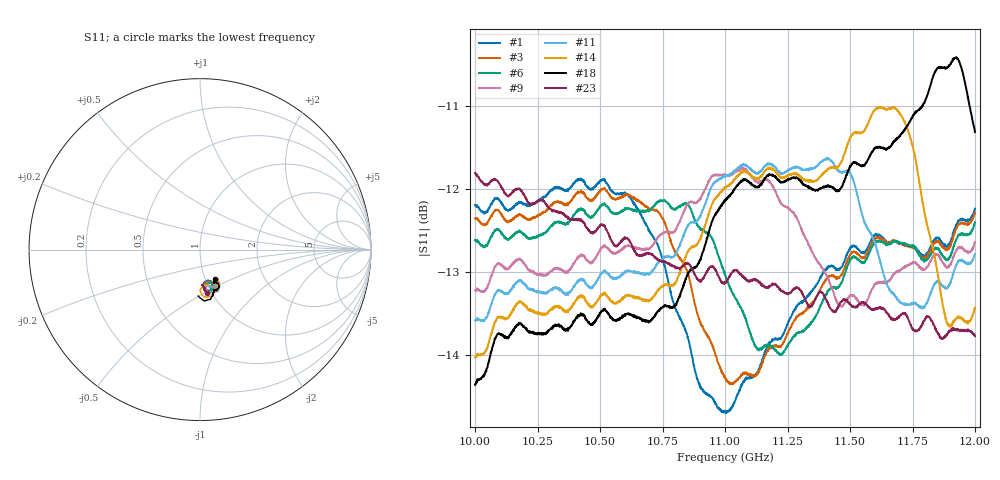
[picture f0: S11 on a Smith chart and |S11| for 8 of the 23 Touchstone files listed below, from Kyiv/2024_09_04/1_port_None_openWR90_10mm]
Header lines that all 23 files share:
[Version] 2.0
! Rohde & Schwarz Vector Network Analyzer
! Rohde-Schwarz,ZNL20-2Port,1323001220200009,1.71.1.10-23.02.1.238
! Port Assignments:
! Nominal Port -> Actual Test Port
!  1 -> 1
# Hz S DB R 50
[Number of Ports] 1
! freq[Hz]  S11[mag dB]  S11[ang]
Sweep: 10 GHz to 12 GHz
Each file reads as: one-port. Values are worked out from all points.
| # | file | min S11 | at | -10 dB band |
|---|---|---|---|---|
| 1 | 0.01.s1p | -14.7 dB | 11 GHz | over 2 GHz wide |
| 2 | 1.s1p | -14.5 dB | 11.01 GHz | over 2 GHz wide |
| 3 | 2.s1p | -14.3 dB | 11.02 GHz | over 2 GHz wide |
| 4 | 3.s1p | -14.2 dB | 11.12 GHz | over 2 GHz wide |
| 5 | 4.s1p | -14.1 dB | 11.13 GHz | over 2 GHz wide |
| 6 | 5.s1p | -14.0 dB | 11.22 GHz | over 2 GHz wide |
| 7 | 6.s1p | -13.8 dB | 11.31 GHz | over 2 GHz wide |
| 8 | 7.s1p | -13.6 dB | 11.44 GHz | over 2 GHz wide |
| 9 | 8.s1p | -13.4 dB | 11.46 GHz | over 2 GHz wide |
| 10 | 9.s1p | -13.4 dB | 10.03 GHz | over 2 GHz wide |
| 11 | 10.s1p | -13.6 dB | 10.04 GHz | over 2 GHz wide |
| 12 | 11.s1p | -13.7 dB | 10.02 GHz | over 2 GHz wide |
| 13 | 12.s1p | -13.9 dB | 10 GHz | over 2 GHz wide |
| 14 | 13.s1p | -14.0 dB | 10 GHz | over 2 GHz wide |
| 15 | 14.s1p | -14.2 dB | 10 GHz | over 2 GHz wide |
| 16 | 15.s1p | -14.3 dB | 10 GHz | over 2 GHz wide |
| 17 | 16.s1p | -14.2 dB | 10 GHz | over 2 GHz wide |
| 18 | 17.s1p | -14.4 dB | 10 GHz | over 2 GHz wide |
| 19 | 18.s1p | -14.5 dB | 10 GHz | over 2 GHz wide |
| 20 | 19.8.s1p | -14.5 dB | 10 GHz | over 2 GHz wide |
| 21 | 19.s1p | -14.5 dB | 10 GHz | over 2 GHz wide |
| 22 | metal.s1p | -17.3 dB | 10 GHz | over 2 GHz wide |
| 23 | noDUT.s1p | -13.8 dB | 11.87 GHz | over 2 GHz wide |
